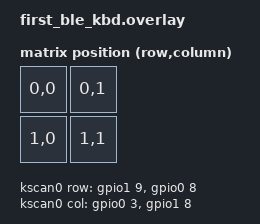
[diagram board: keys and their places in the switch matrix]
#include <dt-bindings/zmk/matrix_transform.h>
#include "first_ble_kbd-layouts.dtsi"

/ {
    kscan0: kscan0 {
        compatible = "zmk,kscan-gpio-matrix";
        diode-direction = "col2row";
        wakeup-source;

        col-gpios
            = <&gpio0 3 GPIO_ACTIVE_HIGH>
            , <&gpio1 8 GPIO_ACTIVE_HIGH>
            ;

        row-gpios
            = <&gpio1 9 GPIO_ACTIVE_HIGH>
            , <&gpio0 8 GPIO_ACTIVE_HIGH>
            ;
    };

    macropad_transform: macropad_transform {
        compatible = "zmk,matrix-transform";
        columns = <2>; // Length of the "col-gpios" array
        rows = <2>; // Length of the "row-gpios" array
        map = <
        //   Key 1 | Key 2
            RC(0,0) RC(0,1) 
        //   Key 3 | Key 4
            RC(1,0) RC(1,1) 
        >;
    };

    chosen {
        zmk,kscan = &kscan0;
        zmk,physical-layout = &macropad_layout;
    };
};
